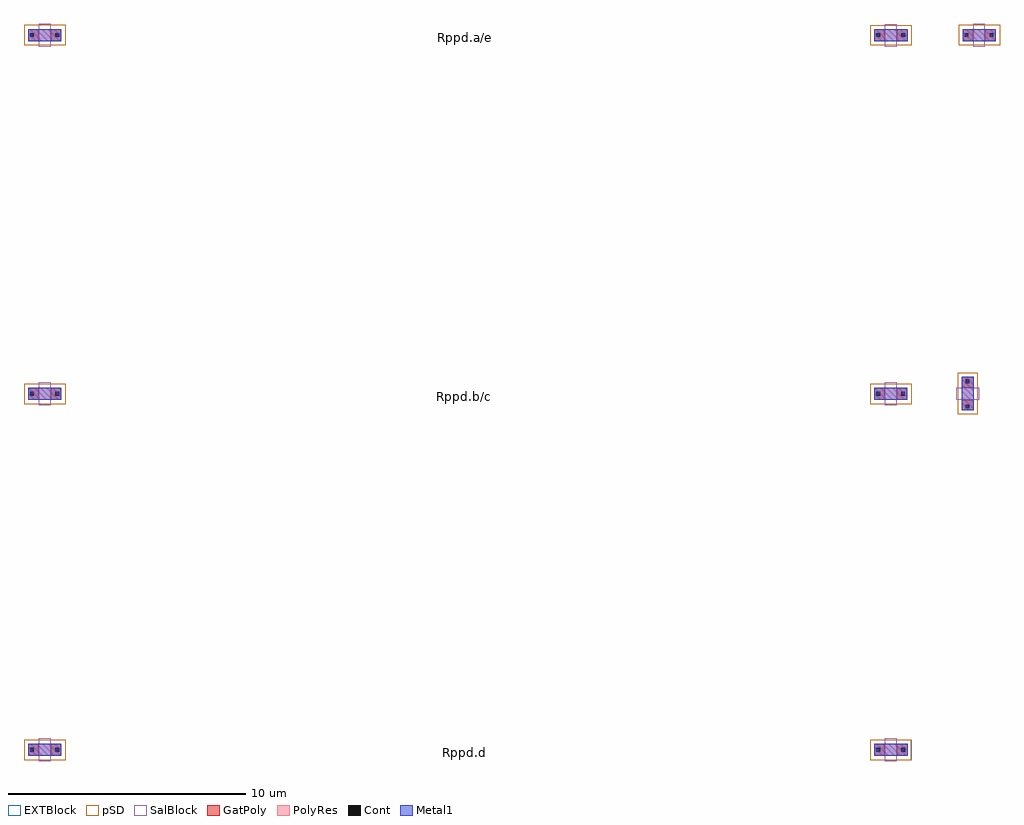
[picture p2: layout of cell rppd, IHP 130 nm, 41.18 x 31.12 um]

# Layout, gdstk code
import gdstk
lib = gdstk.Library(unit=1e-6, precision=1e-09)
def R(c, l, rs):  # rectangles x0, y0, x1, y1
    for r in rs: c.add(gdstk.rectangle(r[:2], r[2:], *l))
GatPoly = (5, 0)
Cont = (6, 0)
Metal1 = (8, 0)
pSD = (14, 0)
SalBlock = (28, 0)
EXTBlock = (111, 0)
PolyRes = (128, 0)

rppd_fail = lib.new_cell('rppd_fail')
R(rppd_fail, GatPoly, [(17.31,-37.63,17.75,-37.13), (18.25,-37.63,18.71,-37.13), (21,-23.05,21.5,-22.61), (17.31,-22.61,17.75,-22.11), (18.25,-22.61,18.7,-22.11), (21,-22.11,21.5,-21.645), (17.31,-7.475,17.75,-6.985), (18.25,-7.475,18.71,-6.985), (21.04,-7.475,21.48,-6.975), (21.97,-7.475,22.43,-6.975)])
R(rppd_fail, Cont, [(17.39,-37.45,17.55,-37.29), (18.45,-37.45,18.61,-37.29), (21.16,-22.97,21.32,-22.81), (17.39,-22.43,17.55,-22.27), (18.44,-22.43,18.6,-22.27), (21.16,-21.905,21.32,-21.745), (17.39,-7.295,17.55,-7.135), (18.45,-7.295,18.61,-7.135), (21.12,-7.295,21.28,-7.135), (22.17,-7.295,22.33,-7.135)])
R(rppd_fail, Metal1, [(17.31,-37.63,18.71,-37.13), (21,-23.05,21.5,-21.645), (17.31,-22.61,18.7,-22.11), (17.31,-7.475,18.71,-6.985), (21.04,-7.475,22.43,-6.975)])
R(rppd_fail, pSD, [(17.13,-37.81,18.89,-36.95), (20.83,-23.215,21.68,-21.465), (17.145,-22.79,18.88,-21.94), (17.13,-7.655,18.89,-6.805), (20.86,-7.655,22.61,-6.795)])
R(rppd_fail, SalBlock, [(17.75,-37.86,18.25,-36.9), (17.75,-22.84,18.25,-21.88), (20.77,-22.61,21.73,-22.11), (17.75,-7.705,18.25,-6.755), (21.48,-7.705,21.97,-6.745)])
R(rppd_fail, EXTBlock, [(17.13,-37.81,18.87,-36.96), (20.82,-23.23,21.68,-21.465), (17.13,-22.79,18.88,-21.93), (17.13,-7.655,18.89,-6.805), (20.86,-7.655,22.61,-6.795)])
R(rppd_fail, PolyRes, [(17.75,-37.63,18.25,-37.13), (17.75,-22.61,18.25,-22.11), (21,-22.61,21.5,-22.11), (17.75,-7.475,18.25,-6.985), (21.48,-7.475,21.97,-6.975)])

rppd_pass = lib.new_cell('rppd_pass')
R(rppd_pass, GatPoly, [(-18.39,-37.63,-17.95,-37.13), (-17.45,-37.63,-16.99,-37.13), (-18.39,-22.61,-17.95,-22.11), (-17.45,-22.61,-16.99,-22.11), (-18.39,-7.475,-17.95,-6.975), (-17.45,-7.475,-16.99,-6.975)])
R(rppd_pass, Cont, [(-18.31,-37.45,-18.15,-37.29), (-17.25,-37.45,-17.09,-37.29), (-18.31,-22.43,-18.15,-22.27), (-17.25,-22.43,-17.09,-22.27), (-18.31,-7.295,-18.15,-7.135), (-17.25,-7.295,-17.09,-7.135)])
R(rppd_pass, Metal1, [(-18.39,-37.63,-16.99,-37.13), (-18.39,-22.61,-16.99,-22.11), (-18.39,-7.475,-16.99,-6.975)])
R(rppd_pass, pSD, [(-18.57,-37.81,-16.81,-36.95), (-18.57,-22.79,-16.81,-21.93), (-18.57,-7.655,-16.81,-6.795)])
R(rppd_pass, SalBlock, [(-17.95,-37.86,-17.45,-36.9), (-17.95,-22.84,-17.45,-21.88), (-17.95,-7.705,-17.45,-6.745)])
R(rppd_pass, EXTBlock, [(-18.57,-37.81,-16.81,-36.95), (-18.57,-22.79,-16.81,-21.93), (-18.57,-7.655,-16.81,-6.795)])
R(rppd_pass, PolyRes, [(-17.95,-37.63,-17.45,-37.13), (-17.95,-22.61,-17.45,-22.11), (-17.95,-7.475,-17.45,-6.975)])

rppd = lib.new_cell('rppd')
rppd.add(gdstk.Reference(rppd_fail, (0,0)))
rppd.add(gdstk.Reference(rppd_pass, (0,0)))
rppd.add(gdstk.Label('FAIL', (12,5), layer=63, texttype=0))
rppd.add(gdstk.Label('PASS', (-12,5), layer=63, texttype=0))
rppd.add(gdstk.Label('Rppd.d', (0,-37.49), layer=63, texttype=0))
rppd.add(gdstk.Label('Rppd.b/c', (0,-22.47), layer=63, texttype=0))
rppd.add(gdstk.Label('Rppd.a/e', (0,-7.335), layer=63, texttype=0))
rppd.add(gdstk.Label('6.5_Rppd', (0,21), layer=63, texttype=0))

lib.write_gds('rppd.gds')
